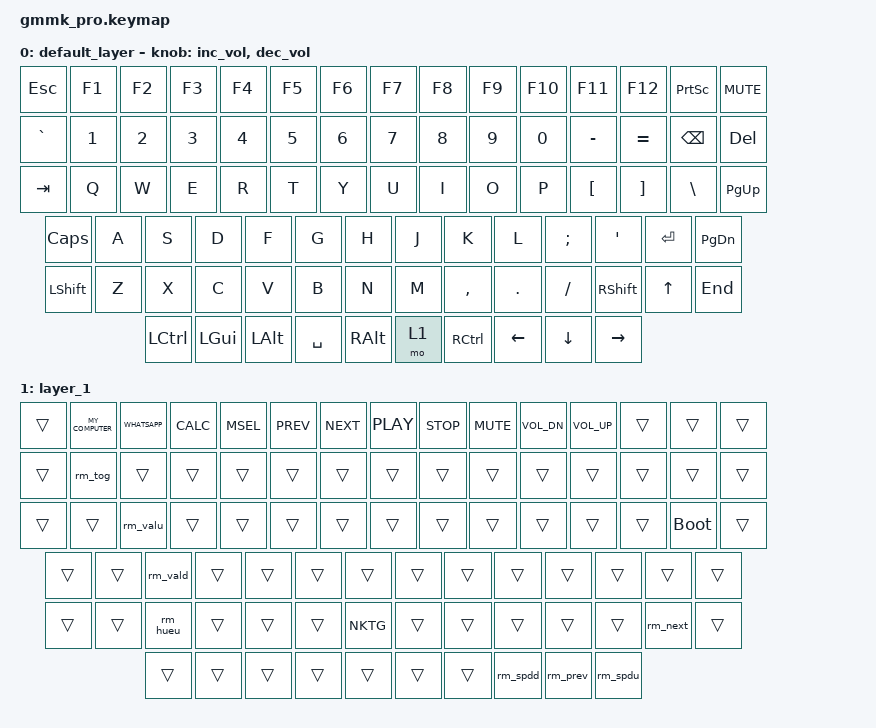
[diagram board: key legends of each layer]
#include <behaviors.dtsi>
#include <dt-bindings/zmk/keys.h>
#include <dt-bindings/zmk/ext_power.h>

/ {
    keymap {
        compatible = "zmk,keymap";
            default_layer {
                bindings = <
                   
                    &kp ESCAPE  &kp F1   &kp F2   &kp F3   &kp F4   &kp F5   &kp F6   &kp F7   &kp F8   &kp F9   &kp F10  &kp F11  &kp F12  &kp PSCRN &kp C_MUTE
                   
                    &kp GRAVE  &kp N1   &kp N2   &kp N3   &kp N4   &kp N5   &kp N6   &kp N7   &kp N8   &kp N9   &kp N0   &kp MINUS &kp EQUAL &kp BSPC  &kp DEL
                   
                    &kp TAB    &kp Q    &kp W    &kp E    &kp R    &kp T    &kp Y    &kp U    &kp I    &kp O    &kp P    &kp LBKT  &kp RBKT  &kp BSLH  &kp PG_UP
                   
                    &kp CAPS   &kp A    &kp S    &kp D    &kp F    &kp G    &kp H    &kp J    &kp K    &kp L    &kp SEMI &kp SQT   &kp ENTER &kp PG_DN
                   
                    &kp LSHFT &kp Z    &kp X    &kp C    &kp V    &kp B    &kp N    &kp M    &kp COMMA &kp DOT  &kp FSLH &kp RSHFT &kp UP    &kp END
                    
                    &kp LCTRL &kp LGUI &kp LALT &kp SPACE &kp RALT &mo 1    &kp RCTRL &kp LEFT &kp DOWN &kp RIGHT
                   
                >;
                sensor-bindings = <&inc_vol &dec_vol>;
                };


            layer_1 {
                bindings = <
                   
                    &trans   &kp C_MY_COMPUTER &kp C_WHATSAPP &kp C_CALC &kp C_MSEL &kp C_PREV &kp C_NEXT &kp C_PLAY &kp C_STOP &kp C_MUTE &kp C_VOL_DN &kp C_VOL_UP &trans &trans &trans
                   
                    &trans   &rm_tog         &trans        &trans        &trans        &trans        &trans        &trans        &trans        &trans        &trans        &trans        &trans &trans &trans
                   
                    &trans   &trans          &rm_valu      &trans        &trans        &trans        &trans        &trans        &trans        &trans        &trans        &trans        &trans &bootloader &trans
                   
                    &trans   &trans          &rm_vald      &trans        &trans        &trans        &trans        &trans        &trans        &trans        &trans        &trans        &trans &trans
                   
                    &trans   &trans          &rm_hueu      &trans        &trans        &trans        &kp NKTG      &trans        &trans        &trans        &trans        &trans        &rm_next &trans
                    
                    &trans   &trans          &trans        &trans        &trans        &trans        &trans        &rm_spdd      &rm_prev      &rm_spdu

                >;
            };


        };
    };
};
